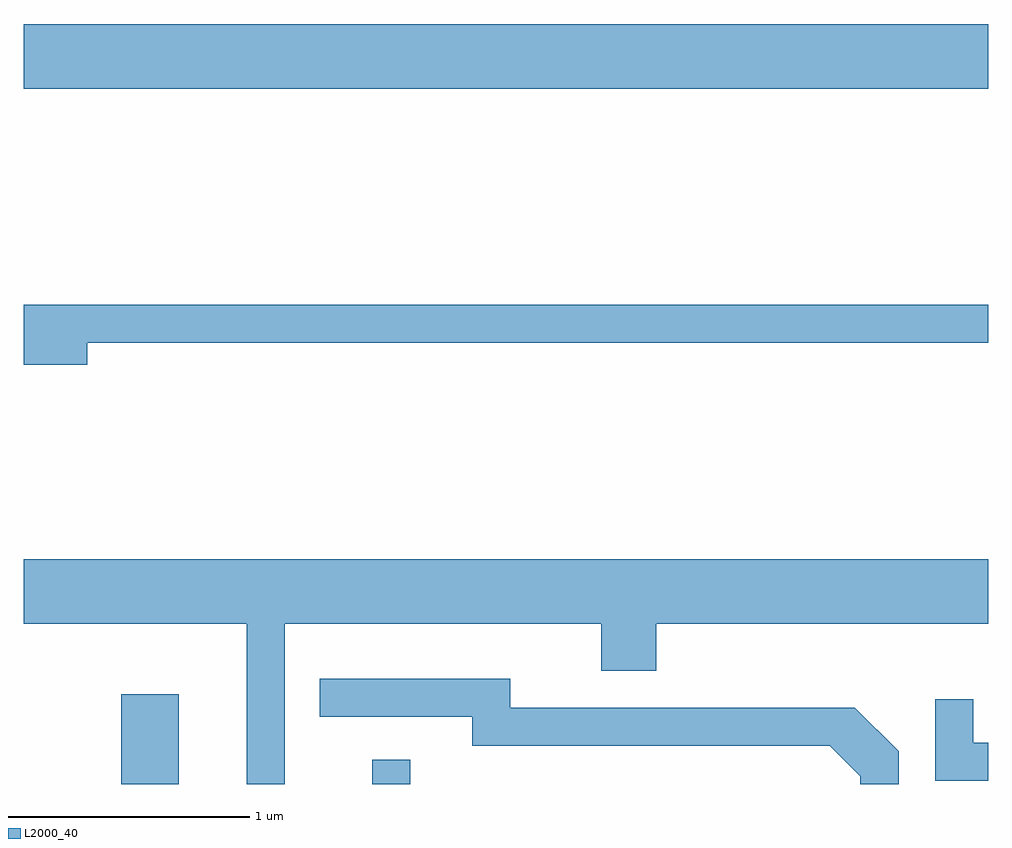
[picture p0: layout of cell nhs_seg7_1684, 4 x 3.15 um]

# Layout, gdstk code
import gdstk
lib = gdstk.Library(unit=1e-6, precision=1e-09)
def R(c, l, rs):  # rectangles x0, y0, x1, y1
    for r in rs: c.add(gdstk.rectangle(r[:2], r[2:], *l))
def P(c, l, *ps):  # polygons
    for p in ps: c.add(gdstk.Polygon(p, *l))
L2000_40 = (2000, 40)

nhs_seg7_1684 = lib.new_cell('nhs_seg7_1684')
R(nhs_seg7_1684, L2000_40, [(236.016,1780.252,236.254,1780.624), (237.056,1780.252,237.214,1780.353), (235.611,1783.136,239.611,1783.404)])
P(nhs_seg7_1684, L2000_40, [(235.874,1782.081),(239.611,1782.081),(239.611,1782.239),(235.611,1782.239),(235.611,1781.991),(235.874,1781.991)],
  [(236.694,1780.916),(238.006,1780.916),(238.006,1780.721),(238.234,1780.721),(238.234,1780.916),(239.611,1780.916),(239.611,1781.184),(235.611,1781.184),(235.611,1780.916),(236.536,1780.916),(236.536,1780.252),(236.694,1780.252)],
  [(239.239,1780.387),(239.057,1780.569),(237.629,1780.569),(237.629,1780.689),(236.838,1780.689),(236.838,1780.531),(237.471,1780.531),(237.471,1780.411),(238.954,1780.411),(239.081,1780.284),(239.081,1780.252),(239.239,1780.252)],
  [(239.611,1780.424),(239.549,1780.424),(239.549,1780.603),(239.391,1780.603),(239.391,1780.266),(239.611,1780.266)])

lib.write_gds('nhs_seg7_1684.gds')
